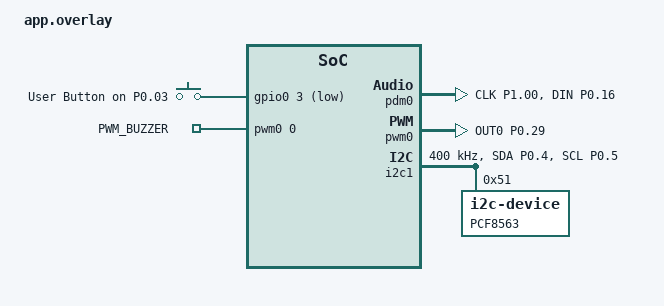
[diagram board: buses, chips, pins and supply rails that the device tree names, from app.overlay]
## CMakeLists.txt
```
cmake_minimum_required(VERSION 3.20.0)
find_package(Zephyr REQUIRED HINTS $ENV{ZEPHYR_BASE})
project(xiao_nrf52840_sense_peripheral_nus)

target_include_directories(app PRIVATE
    src/bsp)

target_sources(app PRIVATE
        src/main.c
        src/cli/getline.c
        src/cli/cli_command.c
        src/cli/cli.c
        src/bsp/bsp.c
        src/bsp/bsp_periodic_task.c
        src/bsp/bsp_msg_rcv_task.c
        src/bsp/sensors/bsp_lsm6ds3tr.c
        src/bsp/sensors/bsp_rtc_pcf8563t.c
        # src/bsp/sensors/bsp_mic_msm261d.c
        src/bsp/driver/bsp_led_key.c
        src/bsp/driver/bsp_flash_nvs.c
        src/bsp/driver/bsp_pwm_buzzer.c
)
```

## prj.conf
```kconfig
CONFIG_LOG=y
CONFIG_BT=y
CONFIG_BT_PERIPHERAL=y
CONFIG_BT_NUS=y

CONFIG_CONSOLE=y
CONFIG_CONSOLE_SUBSYS=y
CONFIG_CONSOLE_GETCHAR=y
CONFIG_CONSOLE_GETCHAR_BUFSIZE=1
CONFIG_CONSOLE_PUTCHAR_BUFSIZE=1

CONFIG_BT_DEVICE_NAME="xiao_zephyr"

CONFIG_BOOTLOADER_MCUBOOT=y

# Enable PWM API
CONFIG_PWM=y

# 1. Total maximum connections (Central + Peripheral)
# Default is usually 1. Increase this to your desired number (e.g., 4).
CONFIG_BT_MAX_CONN=4

# 2. Allocate Controller resources for specific roles
# The SoftDevice Controller (SDC) needs to know how many of those connections
# are Peripherals vs Centrals to reserve memory.

# If you want to accept 4 incoming connections (act as Peripheral to 4 Centrals):
CONFIG_BT_CTLR_SDC_PERIPHERAL_COUNT=4

# Enable I2C and Sensor Subsystems
CONFIG_I2C=y
CONFIG_SENSOR=y

# Allow printing floating point numbers (for m/s^2)
CONFIG_CBPRINTF_FP_SUPPORT=y

# Enable the ST LSM6DSL driver (Compatible with LSM6DS3TR-C)
CONFIG_LSM6DSL=y
CONFIG_LSM6DSL_TRIGGER_GLOBAL_THREAD=y

# For MIC PDM config
CONFIG_AUDIO=y
CONFIG_AUDIO_DMIC=y
# Necessary for the nRF driver
# CONFIG_DMIC_NRFX_PDM=y

## For flash NVS
CONFIG_FLASH=y
CONFIG_FLASH_MAP=y
CONFIG_NVS=y
```

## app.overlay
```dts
/ {
    aliases {
        /* Create a friendly name for our C code to reference */
        my-button = &button0;
        imu = &lsm6ds3tr_c;
        dmic-dev = &pdm0;
    };

    buttons {
        compatible = "gpio-keys";
        button0: button_0 {
            /* Port 0, Pin 3, Active Low, Internal Pull-Up enabled */
            gpios = <&gpio0 3 (GPIO_ACTIVE_LOW | GPIO_PULL_UP)>;
            label = "User Button on P0.03";
        };
    };
};


&pdm0 {
    pinctrl-0 = <&pdm0_default>;
    pinctrl-1 = <&pdm0_sleep>;
    pinctrl-names = "default", "sleep";
    clock-source = "PCLK32M";
};

&pwm0 {
    status = "okay";
    pinctrl-0 = <&pwm0_custom>;
    pinctrl-1 = <&pwm0_sleep>;
    pinctrl-names = "default", "sleep";
};

/ {
    pwm_outputs {
        compatible = "pwm-leds";
        buzzer: pwm_buzzer {
            pwms = <&pwm0 0 PWM_HZ(1000) PWM_POLARITY_NORMAL>;
            label = "PWM_BUZZER";
        };
    };

    aliases {
        buzzer-pwm = &buzzer;
    };
};

/* Configure the Pin Control (Assign pins to PDM peripheral) */
&pinctrl {
    pdm0_default: pdm0_default {
        group1 {
            psels = <NRF_PSEL(PDM_CLK, 1, 00)>, /* P0.26 */
                    <NRF_PSEL(PDM_DIN, 0, 16)>;  /* P0.27 */
        };
    };

    pdm0_sleep: pdm0_sleep {
        group1 {
            psels = <NRF_PSEL(PDM_CLK, 1, 00)>,
                    <NRF_PSEL(PDM_DIN, 0, 16)>;
            low-power-enable;
        };
    };

    /* State: Default (Active) */
    i2c1_default: i2c1_default {
        group1 {
            psels = <NRF_PSEL(TWIM_SDA, 0, 4)>, /* P0.04 for SDA */
                    <NRF_PSEL(TWIM_SCL, 0, 5)>;  /* P0.05 for SCL */
            bias-pull-up; /* Enable internal pull-ups */
        };
    };

    /* State: Sleep (Low Power) */
    i2c1_sleep: i2c1_sleep {
        group1 {
            psels = <NRF_PSEL(TWIM_SDA, 0, 4)>,
                    <NRF_PSEL(TWIM_SCL, 0, 5)>;
            low-power-enable;
        };
    };

    pwm0_custom: pwm0_custom {
        group1 {
            psels = <NRF_PSEL(PWM_OUT0, 0, 29)>; /* Port 0, Pin 29 */
            nordic,drive-mode = <NRF_DRIVE_H0H1>;
        };
    };

    pwm0_sleep: pwm0_sleep {
        group1 {
            psels = <NRF_PSEL(PWM_OUT0, 0, 29)>;
            low-power-enable;
        };
    };
};

&i2c1 {
    status = "okay";
    compatible = "nordic,nrf-twim";

    /* Link to the pins defined above */
    pinctrl-0 = <&i2c1_default>;
    pinctrl-1 = <&i2c1_sleep>;
    pinctrl-names = "default", "sleep";

    /* Set bus speed (Standard 100kHz or Fast 400kHz) */
    clock-frequency = <I2C_BITRATE_FAST>;

    /* Define your PCF8563 device here */
    pcf8563: pcf8563@51 {
        compatible = "i2c-device";
        reg = <0x51>;
        label = "PCF8563";
    };
};
```

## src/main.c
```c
#include <zephyr/kernel.h>
#include <zephyr/bluetooth/bluetooth.h>
#include <zephyr/bluetooth/conn.h>
#include <zephyr/bluetooth/uuid.h>
#include <zephyr/bluetooth/gatt.h>
#include <bluetooth/services/nus.h>

#include <zephyr/logging/log.h>

#include "bsp.h"

LOG_MODULE_REGISTER(main, LOG_LEVEL_INF);

static struct bt_conn *current_conn;
static uint32_t message_count = 0;

#ifdef BSP_CLI_ENABLED
K_THREAD_DEFINE(thread_cli, 2048, cliTask, NULL, NULL, NULL, 7, 0, 0);
#endif

extern BSP_ST g_Bsp;

/* --- Callbacks --- */

// 1. Triggered when data arrives from the Phone/Central
static void bt_receive_cb(struct bt_conn *conn, const uint8_t *const data, uint16_t len)
{
	struct nus_msg_packet send_data;

	LOG_INF("Received %u bytes over BLE. First byte: 0x%02x", len, data[0]);

	send_data.id = ((data[0] << 8) | data[1]);
	send_data.len = ((data[2] << 8) | data[3]);
	// memset(send_data.message, 0, BSP_MAX_MSG_LEN);
	memcpy(send_data.message, &data[4], len - 4);

	int err = bsp_nus_msg_send_to_rcv_task(&send_data, len); // len + sizeof id + sizeof len
	if (err < 0)
	{
		LOG_ERR("Failed to send data (err %d)", err);
	}
	else
	{
		LOG_INF("Sent: %s", send_data.message);
	}
}

static struct bt_nus_cb nus_cb = {
	.received = bt_receive_cb,
};

// 2. Track connection status
static void connected(struct bt_conn *conn, uint8_t err)
{
	if (err)
	{
		LOG_ERR("Connection failed (err %u)", err);
		return;
	}
	LOG_INF("Connected!");
	current_conn = bt_conn_ref(conn);
}

static void disconnected(struct bt_conn *conn, uint8_t reason)
{
	LOG_INF("Disconnected (reason %u)", reason);
	if (current_conn)
	{
		bt_conn_unref(current_conn);
		current_conn = NULL;
	}
}

BT_CONN_CB_DEFINE(conn_callbacks) = {
	.connected = connected,
	.disconnected = disconnected,
};

/* --- Data Sending Logic --- */

void send_test_data(void)
{
	if (!current_conn)
	{
		LOG_WRN("No device connected, skipping send.");
		return;
	}

	char buffer[32];
	int len = snprintk(buffer, sizeof(buffer), "Test Msg: %u", message_count++);

	int err = bt_nus_send(current_conn, (uint8_t *)buffer, len);
	if (err)
	{
		LOG_ERR("Failed to send data (err %d)", err);
	}
	else
	{
		LOG_INF("Sent: %s", buffer);
	}
}

/**
 * @brief send data to central device via ble
 * 
 * @param p 	data packet pointer to send
 * @param len 	data pakcet length
 */
void ble_nus_send_data(char *p, int len)
{
	if (!current_conn)
	{
		// LOG_WRN("No device connected, skipping send.");
		return;
	}

	int err = bt_nus_send(current_conn, (const uint8_t *)p, len);
	if (err)
	{
		// LOG_ERR("Failed to send data (err %d)", err);
	}
	else
	{
		// LOG_INF("Sent: %s", p);
		LOG_HEXDUMP_WRN(p, len, "Sent:");
	}
}

/* --- Bluetooth Initialization --- */

static const struct bt_data ad[] = {
	BT_DATA_BYTES(BT_DATA_FLAGS, (BT_LE_AD_GENERAL | BT_LE_AD_NO_BREDR)),
	BT_DATA_BYTES(BT_DATA_UUID128_ALL, BT_UUID_NUS_VAL),
};

static const struct bt_data sd[] = {
	BT_DATA(BT_DATA_NAME_COMPLETE, CONFIG_BT_DEVICE_NAME, sizeof(CONFIG_BT_DEVICE_NAME) - 1),
};

int main(void)
{
	int err;
	int led_offset = 0;
	char buffer[32];

	LOG_INF("Starting NUS Simple Example (No UART)");

	err = bt_enable(NULL);
	if (err)
	{
		LOG_ERR("Bluetooth init failed (err %d)", err);
		return -1;
	}

	err = bt_nus_init(&nus_cb);
	if (err)
	{
		LOG_ERR("Failed to init NUS (err %d)", err);
		return -1;
	}

	err = bt_le_adv_start(BT_LE_ADV_CONN, ad, ARRAY_SIZE(ad), sd, ARRAY_SIZE(sd));
	if (err)
	{
		LOG_ERR("Advertising failed (err %d)", err);
		return -1;
	}

	LOG_INF("Advertising started. Waiting for connection...");

	bsp_init();
	bsp_led_init();
	bsp_nvs_init();
	bsp_nvs_read(&g_Bsp.nvs);

	/* Main Loop: Sends data every 5 seconds */
	while (1)
	{
		k_sleep(K_SECONDS(5));
		// send_test_data();

		sprintf(buffer, "NUS send %d", led_offset++);
		ble_nus_send_data(buffer, strlen(buffer));
	}

	return 0;
}
```
